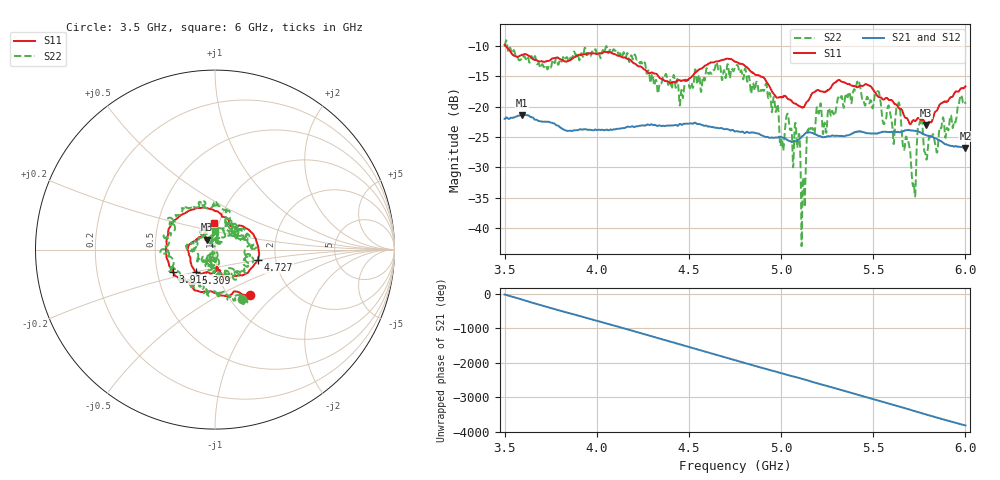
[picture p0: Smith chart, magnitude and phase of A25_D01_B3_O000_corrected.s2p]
! Created with skrf 1.9.0 (http://scikit-rf.org).
# Hz S RI R 50.0
!freq ReS11 ImS11 ReS21 ImS21 ReS12 ImS12 ReS22 ImS22
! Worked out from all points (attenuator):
!   1601 points, 3.5 GHz to 6 GHz, reference 50 ohm
!   highest |S21| = -21.37 dB at 3.595 GHz (marker M1); lowest = -26.8 dB at 6 GHz (marker M2)
!   lowest |S11| = -23.0 dB at 5.787 GHz (marker M3), VSWR 1.15, Z = 45.5 + j5 ohm
!   |S11| at or under -10 dB: 3.505 GHz to end of sweep
!   |S22| runs from -43.0 to -9.1 dB; largest |S21 - S12| = 0.0012
!   S11 on the Smith chart (normalised r, x): 3.5 GHz: 1.26, -0.72; 3.914 GHz: 0.60, -0.16; 4.727 GHz: 1.61, -0.20; 5.309 GHz: 0.79, -0.21; 6 GHz: 0.95, +0.28
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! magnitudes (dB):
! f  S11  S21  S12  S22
! 3.5 GHz  -9.9  -22.0  -22.0  -10.1
! 3.595 GHz  -11.5  -21.4  -21.4  -12.3
! 3.914 GHz  -11.5  -23.8  -23.7  -11.3
! 3.917 GHz  -11.5  -23.8  -23.8  -11.2
! 4.334 GHz  -15.1  -23.2  -23.1  -17.6
! 4.727 GHz  -12.2  -23.9  -23.8  -14.4
! 4.75 GHz  -12.6  -24.1  -24.0  -13.4
! 4.927 GHz  -16.2  -25.0  -25.0  -17.8
! 5.005 GHz  -18.4  -25.1  -25.1  -25.3
! 5.034 GHz  -18.7  -25.6  -25.5  -21.2
! 5.088 GHz  -19.7  -25.6  -25.6  -26.8
! 5.12 GHz  -20.2  -24.8  -24.7  -31.7
! 5.147 GHz  -19.0  -24.3  -24.3  -23.9
! 5.167 GHz  -17.9  -24.3  -24.3  -23.6
! 5.309 GHz  -15.7  -24.8  -24.8  -18.5
! 5.419 GHz  -16.8  -24.1  -24.1  -15.8
! 5.584 GHz  -18.9  -24.2  -24.2  -19.8
! 5.638 GHz  -20.2  -24.2  -24.2  -19.4
! 5.719 GHz  -22.2  -24.0  -23.9  -32.9
! 5.752 GHz  -22.0  -24.2  -24.2  -22.7
! 5.787 GHz  -23.0  -24.7  -24.7  -28.6
! 6 GHz  -16.7  -26.8  -26.8  -19.6
